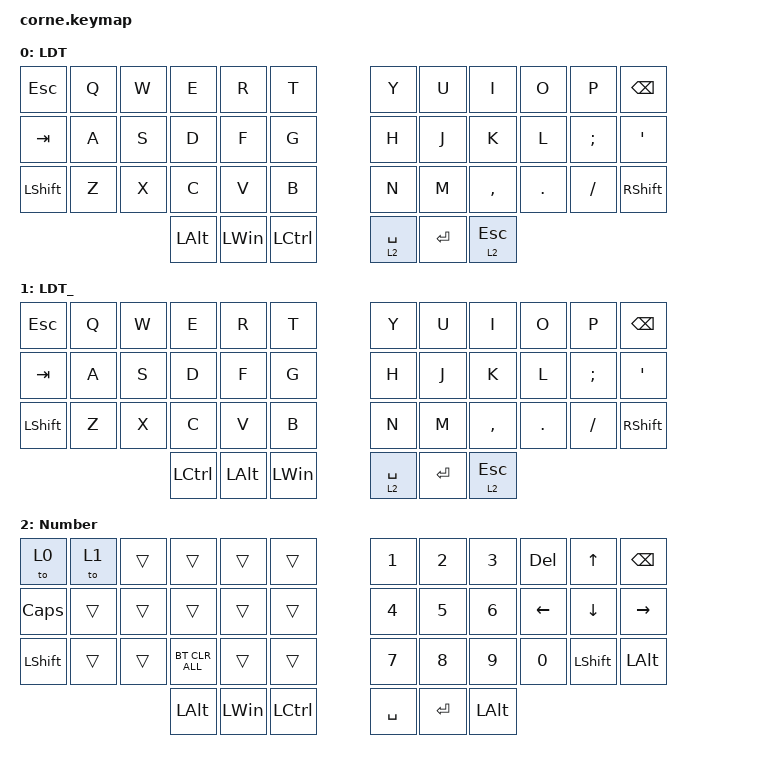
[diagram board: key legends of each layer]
/*
 * Copyright (c) 2020 The ZMK Contributors
 *
 * SPDX-License-Identifier: MIT
 */

#include <behaviors.dtsi>
#include <dt-bindings/zmk/bt.h>
#include <dt-bindings/zmk/keys.h>

/ {
    combos {
        compatible = "zmk,combos";

        enter {
            bindings = <&kp ENTER>;
            key-positions = <37 36>;
        };

        space {
            bindings = <&kp SPACE>;
            key-positions = <37 38>;
        };

        del {
            bindings = <&kp DELETE>;
            key-positions = <38 37 36>;
        };

        vuong1 {
            bindings = <&kp LEFT_BRACKET>;
            key-positions = <7 19>;
            layers = <0 1>;
        };

        vuong2 {
            bindings = <&kp RIGHT_BRACKET>;
            key-positions = <8 20>;
            layers = <0 1>;
        };

        nhon1 {
            bindings = <&kp LEFT_BRACE>;
            key-positions = <8 19>;
            layers = <0 1>;
        };

        nhon2 {
            bindings = <&kp RIGHT_BRACE>;
            key-positions = <20 9>;
            layers = <0 1>;
        };

        tron1 {
            bindings = <&kp LEFT_PARENTHESIS>;
            key-positions = <31 20>;
            layers = <0 1>;
        };

        tron2 {
            bindings = <&kp RIGHT_PARENTHESIS>;
            key-positions = <21 32>;
            layers = <0 1>;
        };

        nhay {
            bindings = <&kp GRAVE>;
            key-positions = <12 0>;
            layers = <0 1>;
        };

        nga {
            bindings = <&kp TILDE>;
            key-positions = <6 7>;
            layers = <0 1>;
        };

        cong {
            bindings = <&kp PLUS>;
            key-positions = <8 7>;
            layers = <0 1>;
        };

        tru {
            bindings = <&kp MINUS>;
            key-positions = <19 20>;
            layers = <0 1>;
        };

        duoi {
            bindings = <&kp UNDERSCORE>;
            key-positions = <31 32>;
            layers = <0 1>;
        };

        bang {
            bindings = <&kp EQUAL>;
            key-positions = <20 21>;
            layers = <0 1>;
        };

        cham-than {
            bindings = <&kp EXCLAMATION>;
            key-positions = <17 5>;
        };

        hoac {
            bindings = <&kp PIPE>;
            key-positions = <4 16>;
        };

        do-la {
            bindings = <&kp DOLLAR>;
            key-positions = <3 16>;
        };

        phan-tram {
            bindings = <&kp PERCENT>;
            key-positions = <4 15>;
        };

        sao {
            bindings = <&kp ASTERISK>;
            key-positions = <4 3>;
        };

        va {
            bindings = <&kp AMPERSAND>;
            key-positions = <16 15>;
        };

        thang {
            bindings = <&kp POUND>;
            key-positions = <5 16>;
        };

        xoet {
            bindings = <&kp BACKSLASH>;
            key-positions = <4 17>;
        };

        mu {
            bindings = <&kp CARET>;
            key-positions = <4 5>;
        };

        a-cong {
            bindings = <&kp AT_SIGN>;
            key-positions = <17 16>;
        };

        w-back {
            bindings = <&kp LC(BACKSPACE)>;
            key-positions = <39 11>;
            layers = <0>;
        };

        w-l {
            bindings = <&kp LC(LEFT_ARROW)>;
            key-positions = <39 19>;
            layers = <0>;
        };

        w-d {
            bindings = <&kp LC(DOWN)>;
            key-positions = <39 20>;
            layers = <0>;
        };

        w-r {
            bindings = <&kp LC(RIGHT)>;
            key-positions = <39 21>;
            layers = <0>;
        };

        w-u {
            bindings = <&kp LC(UP_ARROW)>;
            key-positions = <39 8>;
            layers = <0>;
        };

        w-back_ {
            bindings = <&kp LA(BACKSPACE)>;
            key-positions = <39 11>;
            layers = <1>;
        };

        w-l_ {
            bindings = <&kp LA(LEFT_ARROW)>;
            key-positions = <39 19>;
            layers = <1>;
        };

        w-d_ {
            bindings = <&kp LA(DOWN)>;
            key-positions = <39 20>;
            layers = <1>;
        };

        w-u_ {
            bindings = <&kp LA(UP_ARROW)>;
            key-positions = <39 8>;
            layers = <1>;
        };

        l {
            bindings = <&kp LEFT_ARROW>;
            key-positions = <40 19>;
        };

        r {
            bindings = <&kp RIGHT>;
            key-positions = <40 21>;
        };

        u {
            bindings = <&kp UP_ARROW>;
            key-positions = <40 8>;
        };

        d {
            bindings = <&kp DOWN_ARROW>;
            key-positions = <20 40>;
        };

        nhay-don {
            bindings = <&kp SQT>;
            key-positions = <6 18>;
        };

        nhay-kep {
            bindings = <&kp DOUBLE_QUOTES>;
            key-positions = <7 18>;
        };

        w-r_ {
            bindings = <&kp LA(RIGHT)>;
            key-positions = <39 21>;
            layers = <1>;
        };
    };

    keymap {
        compatible = "zmk,keymap";

        ldt21_layer {
            // -----------------------------------------------------------------------------------------
            // |  TAB |  Q  |  W  |  E  |  R  |  T  |   |  Y  |  U   |  I  |  O  |  P  | BKSP |
            // | CTRL |  A  |  S  |  D  |  F  |  G  |   |  H  |  J   |  K  |  L  |  ;  |  '   |
            // | SHFT |  Z  |  X  |  C  |  V  |  B  |   |  N  |  M   |  ,  |  .  |  /  | ESC  |
            //                    | GUI | LWR | SPC |   | ENT | RSE  | ALT |

            bindings = <
&kp ESCAPE  &kp Q  &kp W  &kp E         &kp R         &kp T        &kp Y        &kp U      &kp I         &kp O    &kp P     &kp BSPC
&kp TAB     &kp A  &kp S  &kp D         &kp F         &kp G        &kp H        &kp J      &kp K         &kp L    &kp SEMI  &kp SQT
&kp LSHFT   &kp Z  &kp X  &kp C         &kp V         &kp B        &kp N        &kp M      &kp COMMA     &kp DOT  &kp FSLH  &kp RIGHT_SHIFT
                          &kp LEFT_ALT  &kp LEFT_WIN  &kp LCTRL    &lt 2 SPACE  &kp ENTER  &lt 2 ESCAPE
            >;

            label = "LDT";
        };

        layer_mac {
            label = "LDT_";
            bindings = <
&kp ESCAPE  &kp Q  &kp W  &kp E      &kp R         &kp T           &kp Y        &kp U      &kp I         &kp O    &kp P     &kp BSPC
&kp TAB     &kp A  &kp S  &kp D      &kp F         &kp G           &kp H        &kp J      &kp K         &kp L    &kp SEMI  &kp SQT
&kp LSHFT   &kp Z  &kp X  &kp C      &kp V         &kp B           &kp N        &kp M      &kp COMMA     &kp DOT  &kp FSLH  &kp RIGHT_SHIFT
                          &kp LCTRL  &kp LEFT_ALT  &kp LEFT_WIN    &lt 2 SPACE  &kp ENTER  &lt 2 ESCAPE
            >;
        };

        number_layer {
            // -----------------------------------------------------------------------------------------
            // |  TAB |  1  |  2  |  3  |  4  |  5  |   |  6  |  7  |  8  |  9  |  0  | BKSP |
            // | BTCLR| BT1 | BT2 | BT3 | BT4 | BT5 |   | LFT | DWN |  UP | RGT |     |      |
            // | SHFT |     |     |     |     |     |   |     |     |     |     |     |      |
            //                    | GUI |     | SPC |   | ENT |     | ALT |

            bindings = <
&to 0           &to 1   &trans  &trans          &trans    &trans       &kp NUMBER_1  &kp NUMBER_2  &kp NUMBER_3  &kp DELETE  &kp UP_ARROW    &kp BACKSPACE
&kp CAPS        &trans  &trans  &trans          &trans    &trans       &kp NUMBER_4  &kp N5        &kp NUMBER_6  &kp LEFT    &kp DOWN        &kp RIGHT
&kp LEFT_SHIFT  &trans  &trans  &bt BT_CLR_ALL  &trans    &trans       &kp N7        &kp N8        &kp N9        &kp N0      &kp LEFT_SHIFT  &kp LEFT_ALT
                                &kp LEFT_ALT    &kp LWIN  &kp LCTRL    &kp SPACE     &kp ENTER     &kp LEFT_ALT
            >;

            label = "Number";
        };
    };
};
